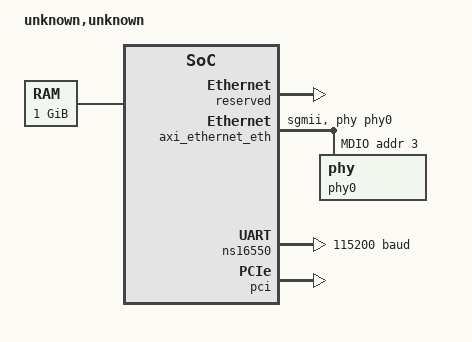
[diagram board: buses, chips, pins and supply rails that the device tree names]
/dts-v1/;

/ {
	#address-cells = <1>;
	#size-cells = <1>;
	compatible = "unknown,unknown";
	model = "unknown,unknown";
	chosen {
		bootargs = "earlyprintk console=ttyS0,115200 loglevel=15";
		stdout-path = &ns16550;
	};
	cpus {
		#address-cells = <1>;
		#size-cells = <0>;
		timebase-frequency = <100000000>;
		CPU0: cpu@0 {
			device_type = "cpu";
			reg = <0>;
			status = "okay";
			compatible = "riscv";
			riscv,isa = "rv64imafdc";
			mmu-type = "riscv,sv39";
			clock-frequency = <100000000>;
			CPU0_intc: interrupt-controller {
				#interrupt-cells = <1>;
				interrupt-controller;
				compatible = "riscv,cpu-intc";
			};
		};
	};
	memory {
		device_type = "memory";
		reg = <0xC0000000 0x40000000>;
	};
	reserved-memory {
		#address-cells = <1>;
		#size-cells = <1>;
		ranges;

		reserved: ethernet@62100000 {
			compatible = "shared-dma-pool";
			no-map;
			reg = <0x80000000 0x20000000>;
		};
		linux,dma {
			compatible = "shared-dma-pool";
			reg = <0xa0000000 0x20000000>;
			linux,dma-default;
			no-map;
		};
	};
	soc {
		#address-cells = <1>;
		#size-cells = <1>;
		compatible = "simple-bus";
		ranges;
		clint@10000000 {
			compatible = "riscv,clint0";
			interrupts-extended = <&CPU0_intc 3 &CPU0_intc 7>;
			reg = <0x10000000 0x10000>;
		};
		plic: interrupt-controller@11000000 {
			#interrupt-cells = <1>;
			compatible = "riscv,plic0";
			interrupt-controller;
			interrupts-extended = <&CPU0_intc 11 &CPU0_intc 9>;
			reg = <0xc000000 0x400000>;
			reg-names = "control";
			riscv,max-priority = <7>;
			riscv,ndev = <16>;
		};
		axi_ethernet_eth: ethernet@62100000 {
			compatible = "xlnx,axi-ethernet-7.01.a", "xlnx,axi-ethernet-1.00.a";
			memory-region = <&reserved>;
			device_type = "network";
			interrupts-extended = <&plic 2>;
			axistream-connected = <&axi_dma>;
			axistream-connected-control = <&axi_dma>;
			phy-mode = "sgmii";
			reg = <0x62100000 0x40000>;
			xlnx,rxcsum = <0x2>;
			xlnx,rxmem = <0x1000>;
			xlnx,txcsum = <0x2>;
			xlnx,phy-type = <0x4>;
			phy-handle = <&phy0>;
			xlnx,vcu118;
			local-mac-address = [00 0a 35 04 db 5a];
			clock-frequency = <100000000>;
			dmas = <&axi_dma 0>, <&axi_dma 1>;
			dma-names = "tx", "rx";
			axi_ethernet_mdio: mdio {
				#address-cells = <1>;
				#size-cells = <0>;
				phy0: phy@3 {
				      device_type = "ethernet-phy";
				      ti,fifo-depth = <1>;
				      reg = <3>;
				};
			};
		};
		axi_dma: dma@62200000 {
			#dma-cells = <1>;
			compatible = "xlnx,eth-dma";
			reg = <0x62200000 0x10000>;
			interrupts-extended = <&plic 3 &plic 4>;
			axistream-connected = <&axi_ethernet_eth>;
			axistream-connected-control = <&axi_ethernet_eth>;
		};
		ns16550: uart@62300000 {
			current-speed = <115200>;
			compatible = "ns16550a";
			interrupts-extended = <&plic 1>;
			reg = <0x62300000 0x1000>;
			clock-frequency = <100000000>;
			reg-shift = <2>;
		};
		pci: pci@20000000 {
		     #address-cells = <3>;
		     #size-cells = <2>;
		     #interrupt-cells = <1>;
		     compatible = "xlnx,xdma-host-3.00";
		     device_type = "pci";
		     interrupt-names = "misc", "msi0", "msi1";
		     interrupt-map-mask = <0 0 0 7>;
		     interrupt-map = <0 0 0 1 &pcie_intc_0 1>, <0 0 0 2 &pcie_intc_0 2>, <0 0 0 3 &pcie_intc_0 3>, <0 0 0 4 &pcie_intc_0 4>;
		     interrupts-extended = <&plic 9>, <&plic 10>, <&plic 11>;
		     ranges = <0x02000000 0x0 0x30000000  0x30000000  0x0 0x10000000>;
		     reg = <0x20000000 0x10000000>;
		     pcie_intc_0: interrupt-controller {
		         interrupt-controller;
			 #address-cells = <0>;
			 #interrupt-cells = <1>;
		     };
		};
	};
};
